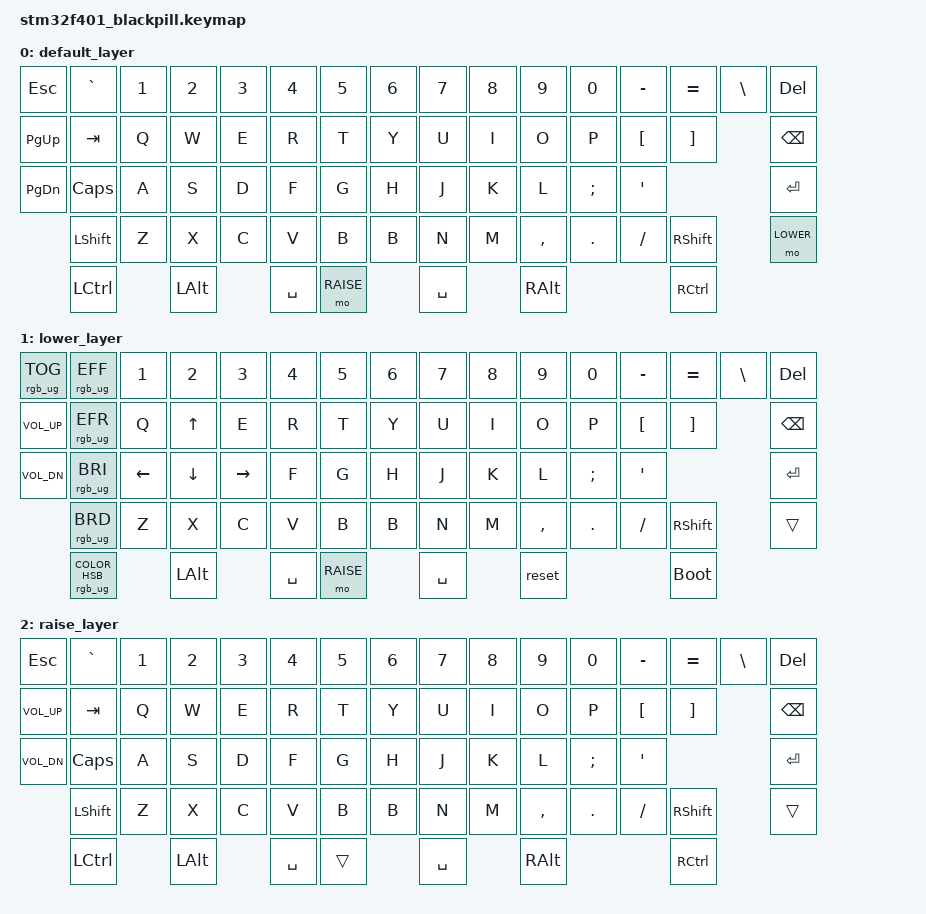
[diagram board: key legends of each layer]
#include <behaviors.dtsi>
#include <dt-bindings/zmk/keys.h>
#include <dt-bindings/zmk/rgb.h>


#define DEFAULT 0
#define LOWER   1
#define RAISE   2

/ {
    keymap {
        compatible = "zmk,keymap";

        default_layer {
			
            bindings = <
// Keymap here

&kp ESC   &kp GRAVE &kp N1 &kp N2   &kp N3 &kp N4    &kp N5 &kp N6 &kp N7 &kp N8 &kp N9    &kp N0   &kp MINUS &kp EQUAL &kp BSLH &kp DEL
&kp PG_UP &kp TAB   &kp Q  &kp W    &kp E  &kp R     &kp T  &kp Y  &kp U  &kp I  &kp O     &kp P    &kp LBKT  &kp RBKT           &kp BSPC
&kp PG_DN &kp CLCK  &kp A  &kp S    &kp D  &kp F     &kp G  &kp H  &kp J  &kp K  &kp L     &kp SEMI &kp SQT                      &kp RET
          &kp LSHFT &kp Z  &kp X    &kp C  &kp V     &kp B  &kp B  &kp N  &kp M  &kp COMMA &kp DOT  &kp FSLH  &kp RSHFT          &mo LOWER
          &kp LCTRL        &kp LALT        &kp SPACE &mo RAISE     &kp SPACE     &kp RALT                     &kp RCTRL

            >;
        };

        lower_layer {
            bindings = <

&rgb_ug RGB_TOG &rgb_ug RGB_EFF &kp N1   &kp N2   &kp N3    &kp N4    &kp N5 &kp N6 &kp N7 &kp N8 &kp N9    &kp N0   &kp MINUS &kp EQUAL &kp BSLH &kp DEL
&kp C_VOL_UP    &rgb_ug RGB_EFR &kp Q    &kp UP   &kp E     &kp R     &kp T  &kp Y  &kp U  &kp I  &kp O     &kp P    &kp LBKT  &kp RBKT           &kp BSPC
&kp C_VOL_DN    &rgb_ug RGB_BRI &kp LEFT &kp DOWN &kp RIGHT &kp F     &kp G  &kp H  &kp J  &kp K  &kp L     &kp SEMI &kp SQT                      &kp RET
                &rgb_ug RGB_BRD &kp Z    &kp X    &kp C     &kp V     &kp B  &kp B  &kp N  &kp M  &kp COMMA &kp DOT  &kp FSLH  &kp RSHFT          &trans
                &rgb_ug RGB_COLOR_HSB(128,100,100) &kp LALT           &kp SPACE &mo RAISE     &kp SPACE     &reset             &bootloader
            
            >;

        };

        raise_layer {
            bindings = <
            
&kp ESC      &kp GRAVE &kp N1 &kp N2   &kp N3 &kp N4    &kp N5 &kp N6 &kp N7 &kp N8 &kp N9    &kp N0   &kp MINUS &kp EQUAL &kp BSLH &kp DEL
&kp C_VOL_UP &kp TAB   &kp Q  &kp W    &kp E  &kp R     &kp T  &kp Y  &kp U  &kp I  &kp O     &kp P    &kp LBKT  &kp RBKT           &kp BSPC
&kp C_VOL_DN &kp CLCK  &kp A  &kp S    &kp D  &kp F     &kp G  &kp H  &kp J  &kp K  &kp L     &kp SEMI &kp SQT                      &kp RET
             &kp LSHFT &kp Z  &kp X    &kp C  &kp V     &kp B  &kp B  &kp N  &kp M  &kp COMMA &kp DOT  &kp FSLH  &kp RSHFT          &trans
             &kp LCTRL        &kp LALT        &kp SPACE &trans        &kp SPACE     &kp RALT                     &kp RCTRL
            
            >;

        };


    };
};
